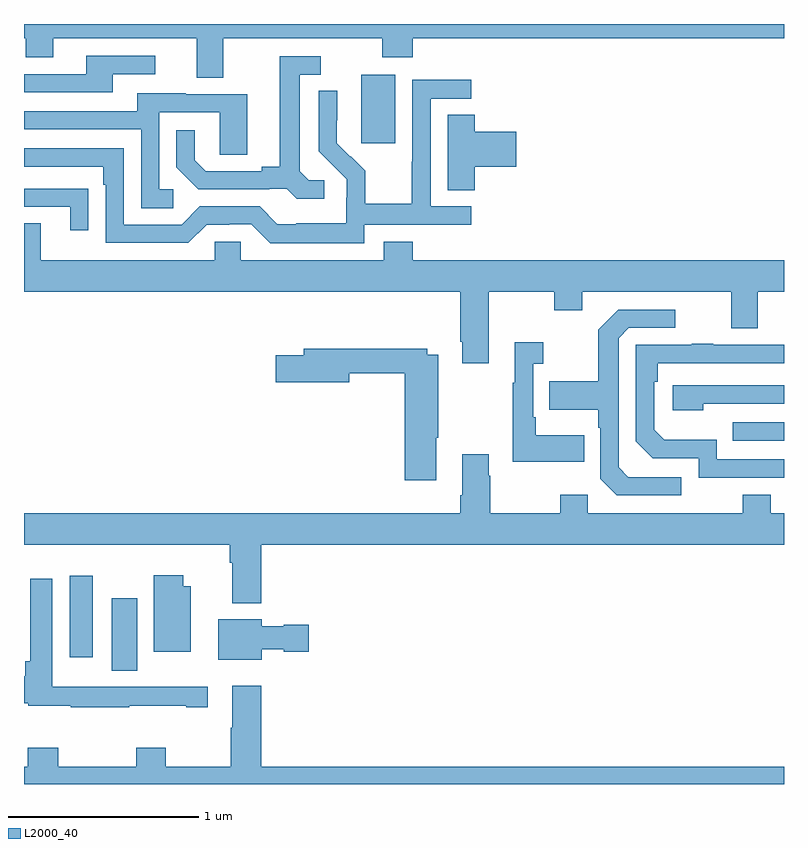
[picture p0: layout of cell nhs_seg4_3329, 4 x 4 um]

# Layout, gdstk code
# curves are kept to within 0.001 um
import gdstk
lib = gdstk.Library(unit=1e-6, precision=1e-09)
def R(c, l, rs):  # rectangles x0, y0, x1, y1
    for r in rs: c.add(gdstk.rectangle(r[:2], r[2:], *l))
def P(c, l, *ps):  # polygons
    for p in ps: c.add(gdstk.Polygon(p, *l))
L2000_40 = (2000, 40)

nhs_seg4_3329 = lib.new_cell('nhs_seg4_3329')
R(nhs_seg4_3329, L2000_40, [(287.462,789.496,287.596,789.877), (287.24,789.567,287.362,789.997), (290.731,790.707,291,790.803), (288.776,792.273,288.955,792.634)])
P(nhs_seg4_3329, L2000_40, [(288.049,792.824),(288.886,792.824),(288.886,792.725),(289.046,792.725),(289.046,792.824),(291,792.824),(291,792.9),(287,792.9),(287,792.824),(287.008,792.824),(287.008,792.725),(287.155,792.725),(287.155,792.824),(287.909,792.824),(287.909,792.616),(288.049,792.616)],
  [(287.467,792.636),(287.692,792.636),(287.692,792.732),(287.327,792.732),(287.327,792.636),(287,792.636),(287,792.54),(287.467,792.54)],
  [(288.58,792.078),(288.498,792.078),(288.451,792.125),(288.451,792.633),(288.562,792.633),(288.562,792.729),(288.347,792.729),(288.347,792.149),(288.251,792.149),(288.251,792.126),(287.956,792.126),(287.899,792.183),(287.899,792.34),(287.802,792.34),(287.802,792.146),(287.918,792.03),(288.29,792.03),(288.29,792.033),(288.384,792.033),(288.436,791.981),(288.58,791.981)],
  [(288.792,791.844),(289.354,791.844),(289.354,791.94),(289.14,791.94),(289.14,792.507),(289.354,792.507),(289.354,792.606),(289.044,792.606),(289.044,792.176),(289.042,792.176),(289.042,791.953),(288.797,791.953),(288.797,792.127),(288.72,792.204),(288.717,792.201),(288.647,792.272),(288.648,792.548),(288.552,792.548),(288.552,792.23),(288.698,792.082),(288.698,791.985),(288.696,791.985),(288.696,791.851),(288.433,791.851),(288.433,791.847),(288.333,791.847),(288.24,791.94),(287.925,791.94),(287.829,791.844),(287.526,791.844),(287.526,792.246),(287,792.246),(287,792.15),(287.417,792.15),(287.417,792.053),(287.43,792.053),(287.43,791.748),(287.865,791.748),(287.961,791.844),(288.08,791.844),(288.08,791.847),(288.195,791.847),(288.295,791.747),(288.792,791.747)],
  [(287.785,792.03),(287.712,792.03),(287.712,792.435),(288.03,792.435),(288.03,792.211),(288.175,792.211),(288.175,792.531),(287.851,792.531),(287.851,792.535),(287.597,792.535),(287.597,792.441),(287,792.441),(287,792.345),(287.616,792.345),(287.616,791.929),(287.785,791.929)],
  [(289.373,792.149),(289.591,792.149),(289.591,792.332),(289.373,792.332),(289.373,792.422),(289.229,792.422),(289.229,792.025),(289.373,792.025)],
  [(287.339,792.032),(287.237,792.032),(287.237,792.033),(287,792.033),(287,791.937),(287.243,791.937),(287.243,791.814),(287.339,791.814)],
  [(289.447,791.492),(289.792,791.492),(289.792,791.393),(289.939,791.393),(289.939,791.492),(290.723,791.492),(290.723,791.298),(290.863,791.298),(290.863,791.492),(291,791.492),(291,791.656),(289.046,791.656),(289.046,791.755),(288.893,791.755),(288.893,791.656),(288.141,791.656),(288.141,791.754),(288.003,791.754),(288.003,791.656),(287.089,791.656),(287.089,791.851),(287,791.851),(287,791.492),(289.295,791.492),(289.295,791.227),(289.307,791.227),(289.307,791.115),(289.447,791.115)],
  [(290.458,790.515),(290.181,790.515),(290.13,790.566),(290.13,791.247),(290.184,791.301),(290.428,791.301),(290.428,791.397),(290.127,791.397),(290.022,791.291),(290.022,791.019),(289.765,791.019),(289.765,790.871),(290.022,790.871),(290.022,790.775),(290.034,790.775),(290.034,790.506),(290.121,790.419),(290.458,790.419)],
  [(289.949,790.735),(289.693,790.735),(289.693,790.831),(289.68,790.831),(289.68,791.111),(289.732,791.111),(289.732,791.224),(289.583,791.224),(289.583,791.011),(289.572,791.011),(289.572,790.595),(289.949,790.595)],
  [(291,790.608),(290.646,790.608),(290.646,790.711),(290.369,790.711),(290.316,790.764),(290.316,791.018),(290.336,791.018),(290.336,791.115),(291,791.115),(291,791.211),(290.627,791.211),(290.627,791.216),(290.515,791.216),(290.515,791.211),(290.22,791.211),(290.22,790.704),(290.31,790.614),(290.55,790.614),(290.55,790.512),(291,790.512)],
  [(289.171,790.723),(289.179,790.723),(289.179,791.158),(289.122,791.158),(289.122,791.191),(288.473,791.191),(288.473,791.157),(288.324,791.157),(288.324,791.015),(288.712,791.015),(288.712,791.062),(289.004,791.062),(289.004,790.5),(289.171,790.5)],
  [(290.576,790.902),(291,790.902),(291,790.998),(290.415,790.998),(290.415,790.868),(290.576,790.868)],
  [(288.248,790.16),(291,790.16),(291,790.324),(290.929,790.324),(290.929,790.423),(290.782,790.423),(290.782,790.324),(289.968,790.324),(289.968,790.423),(289.822,790.423),(289.822,790.324),(289.455,790.324),(289.455,790.523),(289.447,790.523),(289.447,790.636),(289.307,790.636),(289.307,790.42),(289.295,790.42),(289.295,790.324),(287,790.324),(287,790.16),(288.083,790.16),(288.083,790.064),(288.095,790.064),(288.095,789.851),(288.248,789.851)],
  [(287.878,789.94),(287.839,789.94),(287.839,790),(287.684,790),(287.684,789.596),(287.878,789.596)],
  [(287.555,789.313),(287.855,789.313),(287.855,789.303),(287.968,789.303),(287.968,789.413),(287.692,789.413),(287.692,789.411),(287.358,789.411),(287.358,789.412),(287.148,789.412),(287.148,789.979),(287.032,789.979),(287.032,789.547),(287.006,789.547),(287.006,789.467),(287,789.467),(287,789.325),(287.022,789.325),(287.022,789.313),(287.245,789.313),(287.245,789.303),(287.555,789.303)],
  [(288.25,789.608),(288.366,789.608),(288.366,789.596),(288.499,789.596),(288.499,789.738),(288.366,789.738),(288.366,789.73),(288.25,789.73),(288.25,789.766),(288.023,789.766),(288.023,789.554),(288.25,789.554)],
  [(291,788.992),(288.248,788.992),(288.248,789.418),(288.095,789.418),(288.095,789.197),(288.088,789.197),(288.088,788.992),(287.745,788.992),(287.745,789.091),(287.59,789.091),(287.59,788.992),(287.181,788.992),(287.181,789.091),(287.021,789.091),(287.021,788.992),(287,788.992),(287,788.9),(291,788.9)])

lib.write_gds('nhs_seg4_3329.gds')
